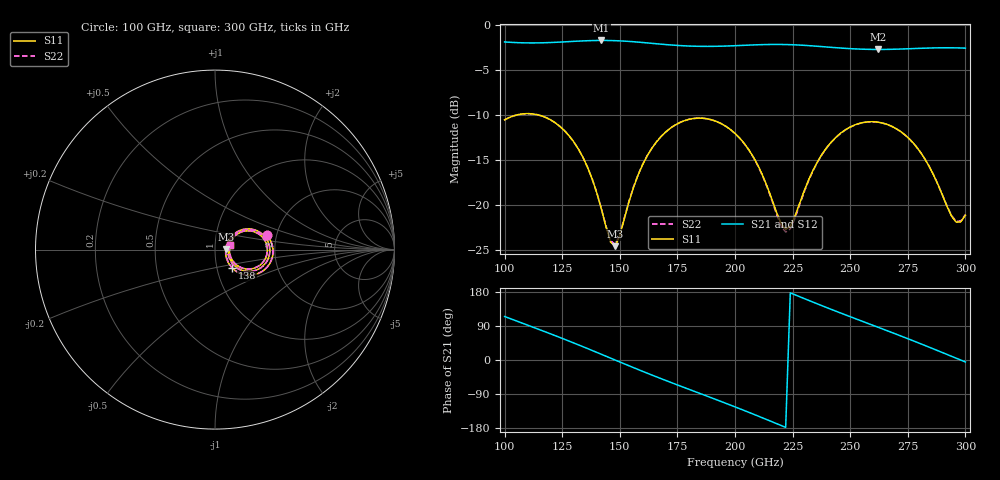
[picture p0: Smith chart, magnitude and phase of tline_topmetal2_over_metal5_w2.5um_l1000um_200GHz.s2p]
#  GHZ S DB R 50
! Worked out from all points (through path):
!   101 points, 100 GHz to 300 GHz, reference 50 ohm
!   highest |S21| = -1.66 dB at 142 GHz (marker M1); lowest = -2.7 dB at 262 GHz (marker M2)
!   group delay of S21, straight-line fit = 6.67 ps
!   lowest |S11| = -24.5 dB at 148 GHz (marker M3), VSWR 1.13, Z = 56.3 + j0.206 ohm
!   |S11| at or under -10 dB: start of sweep to 104.5 GHz; 115.4 GHz to end of sweep
!   |S22| runs from -24.3 to -9.8 dB; largest |S21 - S12| = 8.8e-14
!   S11 on the Smith chart (normalised r, x): 100 GHz: 1.77, +0.32; 138 GHz: 1.18, -0.25; 300 GHz: 1.18, +0.06
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100  -10.48 15.7  -1.83 114.8  -1.83 114.8  -10.49 15.8
110  -9.79 -3.0  -1.93 91.9  -1.93 91.9  -9.79 -3.0
118  -10.24 -18.0  -1.91 73.5  -1.91 73.5  -10.24 -17.9
134  -14.65 -44.4  -1.71 35.1  -1.71 35.1  -14.65 -44.1
138  -17.05 -47.1  -1.68 25.2  -1.68 25.2  -17.04 -46.7
142  -20.39 -42.9  -1.66 15.1  -1.66 15.1  -20.34 -42.3
146  -24.07 -19.5  -1.67 4.9  -1.67 4.9  -23.92 -19.1
148  -24.52 1.8  -1.69 -0.1  -1.69 -0.1  -24.33 1.7
158  -16.57 39.4  -1.85 -25.2  -1.85 -25.2  -16.54 38.8
168  -12.32 27.5  -2.08 -49.4  -2.08 -49.4  -12.30 27.1
184  -10.30 -0.3  -2.31 -86.5  -2.31 -86.5  -10.29 -0.7
200  -11.99 -27.5  -2.25 -123.7  -2.25 -123.7  -12.00 -28.2
212  -16.67 -39.5  -2.13 -152.8  -2.13 -152.8  -16.73 -40.5
222  -22.64 -4.6  -2.12 -177.8  -2.12 -177.8  -22.96 -4.9
234  -16.01 34.8  -2.28 152.4  -2.28 152.4  -16.08 35.6
248  -11.57 18.1  -2.54 119.0  -2.54 119.0  -11.59 18.5
262  -10.74 -5.3  -2.66 86.6  -2.66 86.6  -10.75 -5.0
268  -11.20 -15.3  -2.65 72.7  -2.65 72.7  -11.21 -15.0
278  -13.25 -30.0  -2.56 49.1  -2.56 49.1  -13.25 -29.7
286  -16.51 -35.6  -2.49 29.6  -2.49 29.6  -16.50 -35.3
296  -21.86 -6.8  -2.49 4.8  -2.49 4.8  -21.77 -6.6
300  -21.09 17.2  -2.52 -5.2  -2.52 -5.2  -21.00 17.0
